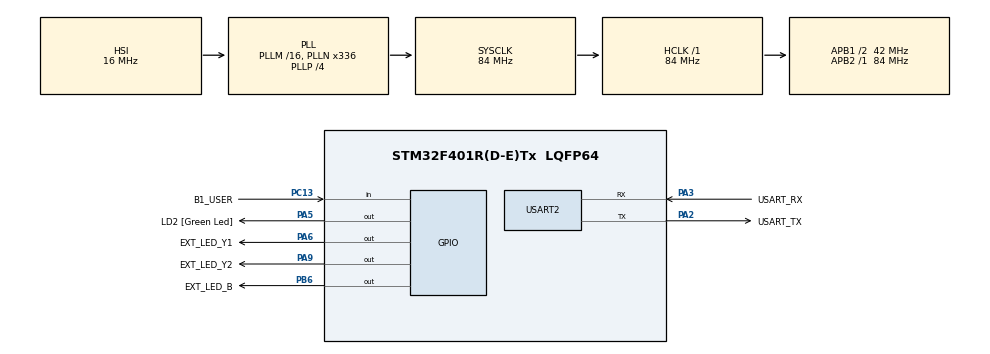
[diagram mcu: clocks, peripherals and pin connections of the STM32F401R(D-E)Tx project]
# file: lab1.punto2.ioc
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Mcu.Family=STM32F4
Mcu.Name=STM32F401R(D-E)Tx
Mcu.Package=LQFP64
NVIC.PriorityGroup=NVIC_PRIORITYGROUP_0
PA13.GPIO_Label=TMS
PA13.Mode=Serial_Wire
PA13.Signal=SYS_JTMS-SWDIO
PA14.GPIO_Label=TCK
PA14.Mode=Serial_Wire
PA14.Signal=SYS_JTCK-SWCLK
PA2.GPIO_Label=USART_TX
PA2.GPIO_Mode=GPIO_MODE_AF_PP
PA2.GPIO_PuPd=GPIO_NOPULL
PA2.GPIO_Speed=GPIO_SPEED_FREQ_LOW
PA2.Mode=Asynchronous
PA2.Signal=USART2_TX
PA3.GPIO_Label=USART_RX
PA3.GPIO_Mode=GPIO_MODE_AF_PP
PA3.GPIO_PuPd=GPIO_NOPULL
PA3.GPIO_Speed=GPIO_SPEED_FREQ_LOW
PA3.Mode=Asynchronous
PA3.Signal=USART2_RX
PA5.GPIO_Label=LD2 [Green Led]
PA5.GPIO_Mode=GPIO_MODE_OUTPUT_PP
PA5.GPIO_PuPd=GPIO_NOPULL
PA5.GPIO_Speed=GPIO_SPEED_FREQ_LOW
PA5.Signal=GPIO_Output
PA6.GPIO_Label=EXT_LED_Y1
PA6.Signal=GPIO_Output
PA9.GPIO_Label=EXT_LED_Y2
PA9.Signal=GPIO_Output
PB3.GPIO_Label=SWO
PB3.Signal=SYS_JTDO-SWO
PB6.GPIO_Label=EXT_LED_B
PB6.Signal=GPIO_Output
PC13-ANTI_TAMP.GPIO_Label=B1_USER
PC13-ANTI_TAMP.Signal=GPIO_Input
PC14-OSC32_IN.Mode=LSE-External-Oscillator
PC14-OSC32_IN.Signal=RCC_OSC32_IN
PC15-OSC32_OUT.Mode=LSE-External-Oscillator
PC15-OSC32_OUT.Signal=RCC_OSC32_OUT
PH0\ -\ OSC_IN.Mode=HSE-External-Clock-Source
PH0\ -\ OSC_IN.Signal=RCC_OSC_IN
PH1\ -\ OSC_OUT.Mode=HSE-External-Clock-Source
PH1\ -\ OSC_OUT.Signal=RCC_OSC_OUT
ProjectManager.HeapSize=0x200
ProjectManager.StackSize=0x400
ProjectManager.TargetToolchain=STM32CubeIDE
RCC.48MHZClocksFreq_Value=48000000
RCC.AHBFreq_Value=84000000
RCC.APB1CLKDivider=RCC_HCLK_DIV2
RCC.APB1Freq_Value=42000000
RCC.APB1TimFreq_Value=84000000
RCC.APB2Freq_Value=84000000
RCC.APB2TimFreq_Value=84000000
RCC.CortexFreq_Value=84000000
RCC.HCLKFreq_Value=84000000
RCC.HSE_VALUE=8000000
RCC.HSI_VALUE=16000000
RCC.PLLN=336
RCC.PLLP=RCC_PLLP_DIV4
RCC.PLLQ=7
RCC.SYSCLKFreq_VALUE=84000000
RCC.SYSCLKSource=RCC_SYSCLKSOURCE_PLLCLK
RCC.VCOOutputFreq_Value=336000000
USART2.VirtualMode=VM_ASYNC
board=NUCLEO-F401RE

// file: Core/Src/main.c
/* USER CODE BEGIN Header */
/**
  ******************************************************************************
  * @file           : main.c
  * @brief          : Main program body
  ******************************************************************************
  * @attention
  *
  * Copyright (c) 2023 STMicroelectronics.
  * All rights reserved.
  *
  * This software is licensed under terms that can be found in the LICENSE file
  * in the root directory of this software component.
  * If no LICENSE file comes with this software, it is provided AS-IS.
  *
  ******************************************************************************
  */
/* USER CODE END Header */
#include "main.h"

UART_HandleTypeDef huart2;

void SystemClock_Config(void);
static void MX_GPIO_Init(void);
static void MX_USART2_UART_Init(void);

int main(void)
{

  /* MCU Configuration--------------------------------------------------------*/

  /* Reset of all peripherals, Initializes the Flash interface and the Systick. */
  HAL_Init();

  /* Configure the system clock */
  SystemClock_Config();

  /* Initialize all configured peripherals */
  MX_GPIO_Init();
  MX_USART2_UART_Init();
  /* USER CODE BEGIN 2 */

  uint8_t sequence = 0;
  uint8_t buttonState = HAL_GPIO_ReadPin(B1_USER_GPIO_Port, B1_USER_Pin);
  uint8_t nextState = 0;

  /* USER CODE END 2 */

  /* Infinite loop */
  while (1)
  {

	  /* USER CODE BEGIN 3 */
	  nextState = HAL_GPIO_ReadPin(B1_USER_GPIO_Port, B1_USER_Pin);

	  if (buttonState == GPIO_PIN_RESET && nextState == GPIO_PIN_SET) {
		  sequence = !sequence;

	  }

	  buttonState = nextState;

	  if (sequence == 0) {
		  //HAL_GPIO_WritePin(EXT_LED_Y1_GPIO_Port, EXT_LED_Y1_Pin, GPIO_PIN_SET);
		  //HAL_GPIO_WritePin(EXT_LED_Y2_GPIO_Port, EXT_LED_Y2_Pin, GPIO_PIN_RESET);
		 // HAL_Delay(500);
		  HAL_GPIO_TogglePin(EXT_LED_Y1_GPIO_Port, EXT_LED_Y1_Pin);
		  HAL_Delay(250);
		  HAL_GPIO_TogglePin(EXT_LED_B_GPIO_Port, EXT_LED_B_Pin);
		  HAL_Delay(250);
		  HAL_GPIO_TogglePin(EXT_LED_Y2_GPIO_Port, EXT_LED_Y2_Pin);
		  HAL_Delay(250);

	  } else {
		  //HAL_GPIO_WritePin(EXT_LED_Y1_GPIO_Port, EXT_LED_Y1_Pin, GPIO_PIN_RESET);
		  //HAL_GPIO_WritePin(EXT_LED_Y2_GPIO_Port, EXT_LED_Y2_Pin, GPIO_PIN_SET);
		  //state = 1;
		  HAL_GPIO_TogglePin(EXT_LED_Y1_GPIO_Port, EXT_LED_Y1_Pin);
		  HAL_Delay(250);
		  HAL_GPIO_TogglePin(EXT_LED_Y2_GPIO_Port, EXT_LED_Y2_Pin);
		  HAL_Delay(250);
		  HAL_GPIO_TogglePin(EXT_LED_B_GPIO_Port, EXT_LED_B_Pin);
		  HAL_Delay(250);
	  }

  }
  /* USER CODE END 3 */
}

void SystemClock_Config(void)
{
  RCC_OscInitTypeDef RCC_OscInitStruct = {0};
  RCC_ClkInitTypeDef RCC_ClkInitStruct = {0};

  /** Configure the main internal regulator output voltage
  */
  __HAL_RCC_PWR_CLK_ENABLE();
  __HAL_PWR_VOLTAGESCALING_CONFIG(PWR_REGULATOR_VOLTAGE_SCALE2);

  /** Initializes the RCC Oscillators according to the specified parameters
  * in the RCC_OscInitTypeDef structure.
  */
  RCC_OscInitStruct.OscillatorType = RCC_OSCILLATORTYPE_HSI;
  RCC_OscInitStruct.HSIState = RCC_HSI_ON;
  RCC_OscInitStruct.HSICalibrationValue = RCC_HSICALIBRATION_DEFAULT;
  RCC_OscInitStruct.PLL.PLLState = RCC_PLL_ON;
  RCC_OscInitStruct.PLL.PLLSource = RCC_PLLSOURCE_HSI;
  RCC_OscInitStruct.PLL.PLLM = 16;
  RCC_OscInitStruct.PLL.PLLN = 336;
  RCC_OscInitStruct.PLL.PLLP = RCC_PLLP_DIV4;
  RCC_OscInitStruct.PLL.PLLQ = 7;
  if (HAL_RCC_OscConfig(&RCC_OscInitStruct) != HAL_OK)
  {
    Error_Handler();
  }

  /** Initializes the CPU, AHB and APB buses clocks
  */
  RCC_ClkInitStruct.ClockType = RCC_CLOCKTYPE_HCLK|RCC_CLOCKTYPE_SYSCLK
                              |RCC_CLOCKTYPE_PCLK1|RCC_CLOCKTYPE_PCLK2;
  RCC_ClkInitStruct.SYSCLKSource = RCC_SYSCLKSOURCE_PLLCLK;
  RCC_ClkInitStruct.AHBCLKDivider = RCC_SYSCLK_DIV1;
  RCC_ClkInitStruct.APB1CLKDivider = RCC_HCLK_DIV2;
  RCC_ClkInitStruct.APB2CLKDivider = RCC_HCLK_DIV1;

  if (HAL_RCC_ClockConfig(&RCC_ClkInitStruct, FLASH_LATENCY_2) != HAL_OK)
  {
    Error_Handler();
  }
}

static void MX_USART2_UART_Init(void)
{

  huart2.Instance = USART2;
  huart2.Init.BaudRate = 115200;
  huart2.Init.WordLength = UART_WORDLENGTH_8B;
  huart2.Init.StopBits = UART_STOPBITS_1;
  huart2.Init.Parity = UART_PARITY_NONE;
  huart2.Init.Mode = UART_MODE_TX_RX;
  huart2.Init.HwFlowCtl = UART_HWCONTROL_NONE;
  huart2.Init.OverSampling = UART_OVERSAMPLING_16;
  if (HAL_UART_Init(&huart2) != HAL_OK)
  {
    Error_Handler();
  }

}

static void MX_GPIO_Init(void)
{
  GPIO_InitTypeDef GPIO_InitStruct = {0};

  /* GPIO Ports Clock Enable */
  __HAL_RCC_GPIOC_CLK_ENABLE();
  __HAL_RCC_GPIOH_CLK_ENABLE();
  __HAL_RCC_GPIOA_CLK_ENABLE();
  __HAL_RCC_GPIOB_CLK_ENABLE();

  /*Configure GPIO pin Output Level */
  HAL_GPIO_WritePin(GPIOA, LD2_Pin|EXT_LED_Y1_Pin|EXT_LED_Y2_Pin, GPIO_PIN_RESET);

  /*Configure GPIO pin Output Level */
  HAL_GPIO_WritePin(EXT_LED_B_GPIO_Port, EXT_LED_B_Pin, GPIO_PIN_RESET);

  /*Configure GPIO pin : B1_USER_Pin */
  GPIO_InitStruct.Pin = B1_USER_Pin;
  GPIO_InitStruct.Mode = GPIO_MODE_INPUT;
  GPIO_InitStruct.Pull = GPIO_NOPULL;
  HAL_GPIO_Init(B1_USER_GPIO_Port, &GPIO_InitStruct);

  /*Configure GPIO pins : LD2_Pin EXT_LED_Y1_Pin EXT_LED_Y2_Pin */
  GPIO_InitStruct.Pin = LD2_Pin|EXT_LED_Y1_Pin|EXT_LED_Y2_Pin;
  GPIO_InitStruct.Mode = GPIO_MODE_OUTPUT_PP;
  GPIO_InitStruct.Pull = GPIO_NOPULL;
  GPIO_InitStruct.Speed = GPIO_SPEED_FREQ_LOW;
  HAL_GPIO_Init(GPIOA, &GPIO_InitStruct);

  /*Configure GPIO pin : EXT_LED_B_Pin */
  GPIO_InitStruct.Pin = EXT_LED_B_Pin;
  GPIO_InitStruct.Mode = GPIO_MODE_OUTPUT_PP;
  GPIO_InitStruct.Pull = GPIO_NOPULL;
  GPIO_InitStruct.Speed = GPIO_SPEED_FREQ_LOW;
  HAL_GPIO_Init(EXT_LED_B_GPIO_Port, &GPIO_InitStruct);

}

void Error_Handler(void)
{
  __disable_irq();
  while (1)
  {
  }
}
